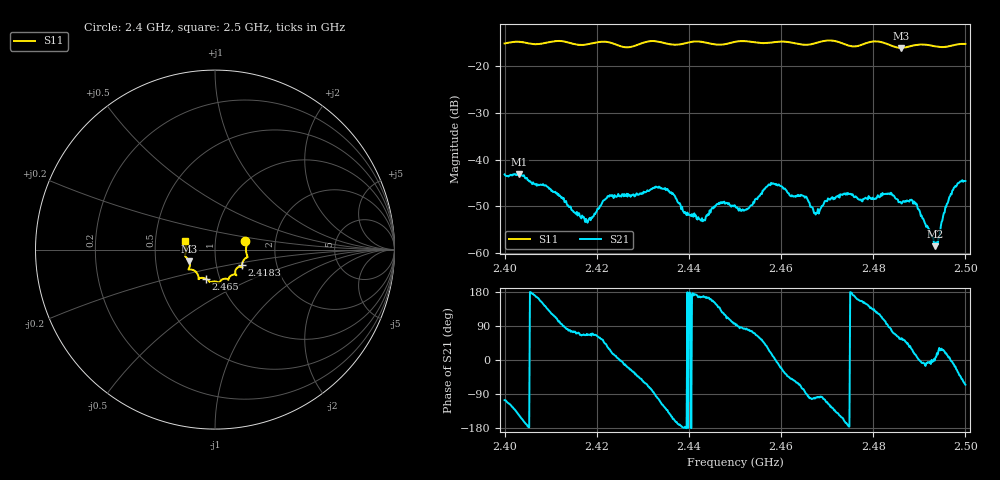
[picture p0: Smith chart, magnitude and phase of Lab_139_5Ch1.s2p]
# Hz S RI R 50
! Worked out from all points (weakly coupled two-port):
!   601 points, 2.4 GHz to 2.5 GHz, reference 50 ohm
!   highest |S21| = -43.08 dB at 2.4032 GHz (marker M1); lowest = -58.6 dB at 2.4935 GHz (marker M2)
!   lowest |S11| = -16.1 dB at 2.486 GHz (marker M3), VSWR 1.37, Z = 37.2 - j4.98 ohm
!   |S11| at or under -10 dB: start of sweep to end of sweep
!   S12 and S22 are empty: the file has one direction only
!   S11 on the Smith chart (normalised r, x): 2.4 GHz: 1.40, +0.13; 2.4183 GHz: 1.33, -0.24; 2.465 GHz: 0.86, -0.29; 2.5 GHz: 0.71, +0.07
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2.4e9  0.1693 0.046  -0.0019 -0.00667  0 0  0 0
2.403167e9  0.1801 0.0322  -0.00585 -0.00387  0 0  0 0
2.409333e9  0.1774 -0.0304  -0.00356 0.00362  0 0  0 0
2.416667e9  0.1549 -0.0679  0.000993 0.00212  0 0  0 0
2.418333e9  0.1501 -0.0869  0.000915 0.00213  0 0  0 0
2.422833e9  0.1506 -0.0983  0.00367 0.00194  0 0  0 0
2.433333e9  0.1176 -0.1411  -0.00102 -0.00486  0 0  0 0
2.442833e9  0.073 -0.1673  -0.00228 0.000557  0 0  0 0
2.446667e9  0.0466 -0.1637  -0.00249 0.00223  0 0  0 0
2.45e9  0.0254 -0.1809  -0.000333 0.0032  0 0  0 0
2.4525e9  0.0205 -0.1843  0.000357 0.00288  0 0  0 0
2.457833e9  -0.0168 -0.1785  0.00535 0.00171  0 0  0 0
2.465e9  -0.0524 -0.1617  0.000712 -0.00397  0 0  0 0
2.466667e9  -0.0714 -0.1573  -0.000703 -0.003  0 0  0 0
2.467833e9  -0.0825 -0.1588  -0.000355 -0.00265  0 0  0 0
2.473333e9  -0.0922 -0.1496  -0.0037 -0.00192  0 0  0 0
2.483333e9  -0.1413 -0.0963  0.000194 0.00429  0 0  0 0
2.486e9  -0.1431 -0.0653  0.002 0.00282  0 0  0 0
2.489e9  -0.163 -0.0408  0.00337 0.000912  0 0  0 0
2.4935e9  -0.1625 -0.0147  0.00117 0.000141  0 0  0 0
2.497e9  -0.164 0.0278  0.00424 -0.000233  0 0  0 0
2.5e9  -0.1671 0.0471  0.00246 -0.00535  0 0  0 0
